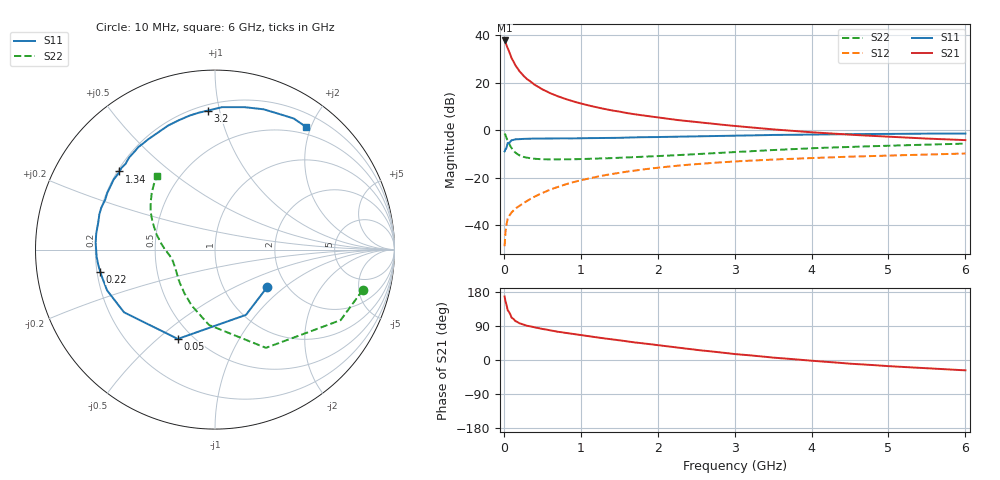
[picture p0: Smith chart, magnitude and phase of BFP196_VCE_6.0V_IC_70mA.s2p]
! Infineon Technologies  Discrete & RF Semiconductors
! BFP196
! VCE = 6.0 V,  IC =  70mA
! Common Emitter S-Parameters:  Jan 2016
# GHz  S  MA  R  50
!  f  S11  S21  S12  S22
! GHz  MAG  ANG  MAG  ANG  MAG  ANG  MAG  ANG
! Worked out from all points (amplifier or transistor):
!   210 points, 10 MHz to 6 GHz, reference 50 ohm
!   highest |S21| = 37.8 dB at 10 MHz (marker M1)
!   |S21| within 3 dB of that: start of sweep to 46.8 MHz
!   unconditionally stable (mu >= 1): 444.6 MHz to 4.484 GHz; 4.561 GHz to 4.841 GHz
!   at 185 MHz: K = 0.75, MSG = 29.0 dB, |S12| = -32.2 dB
!   at 1.52 GHz: K = 1.09, MAG = 11.0 dB, |S12| = -17.9 dB
!   at 6 GHz: K = 0.98, MSG = 2.8 dB, |S12| = -9.8 dB
!   S11 on the Smith chart (normalised r, x): 10 MHz: 1.60, -0.76; 50 MHz: 0.42, -0.58; 220 MHz: 0.21, -0.09; 1.34 GHz: 0.21, +0.34; 3.2 GHz: 0.24, +0.92; 6 GHz: 0.39, +1.92
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0.01  0.3581 -35.6  77.85 167.5  0.0036 76.8  0.8532 -15.3
0.02  0.4026 -64.6  71.95 155.5  0.0068 71.2  0.8029 -29.3
0.05  0.5391 -112.6  53.71 131.4  0.0139 55.9  0.6166 -62.6
0.1  0.6156 -145.4  33.17 112.1  0.0185 48.0  0.4215 -94.5
0.15  0.6428 -159.3  23.24 102.8  0.0221 50.3  0.3375 -112.7
0.2  0.6485 -166.8  17.79 97.2  0.0255 53.5  0.2973 -124.9
0.22  0.6508 -169.1  16.38 95.8  0.0267 54.7  0.2875 -128.4
0.26  0.6567 -173.2  13.82 92.8  0.0292 56.5  0.2724 -135.2
0.3  0.6606 -176.6  11.98 90.4  0.0322 57.4  0.2636 -140.1
0.4  0.6662 176.6  9.066 85.9  0.0399 61.0  0.2501 -149.2
0.5  0.6677 172.2  7.262 82.0  0.0474 62.6  0.2441 -154.9
0.6  0.6671 167.4  6.05 78.3  0.0556 62.9  0.2426 -159.2
0.7  0.6738 163.0  5.206 74.6  0.0636 63.4  0.2425 -162.1
0.9  0.6719 155.7  4.047 68.7  0.0801 62.2  0.2441 -166.9
1.02  0.6785 151.5  3.59 65.2  0.0895 61.2  0.2471 -168.7
1.34  0.6877 140.7  2.74 56.2  0.1147 57.4  0.2564 -173.3
2.02  0.7185 121.0  1.834 38.6  0.1633 47.6  0.2858 177.6
3.1  0.7715 94.8  1.188 14.1  0.2239 31.6  0.3529 161.6
3.2  0.7759 92.8  1.15 12.3  0.228 30.1  0.3598 160.1
4.1  0.8127 76.8  0.884 -3.5  0.2626 18.9  0.4227 148.1
5.1  0.8383 63.6  0.717 -17.3  0.2955 7.7  0.4762 137.4
6  0.851 53.5  0.618 -27.3  0.323 -2.1  0.5213 128.4
